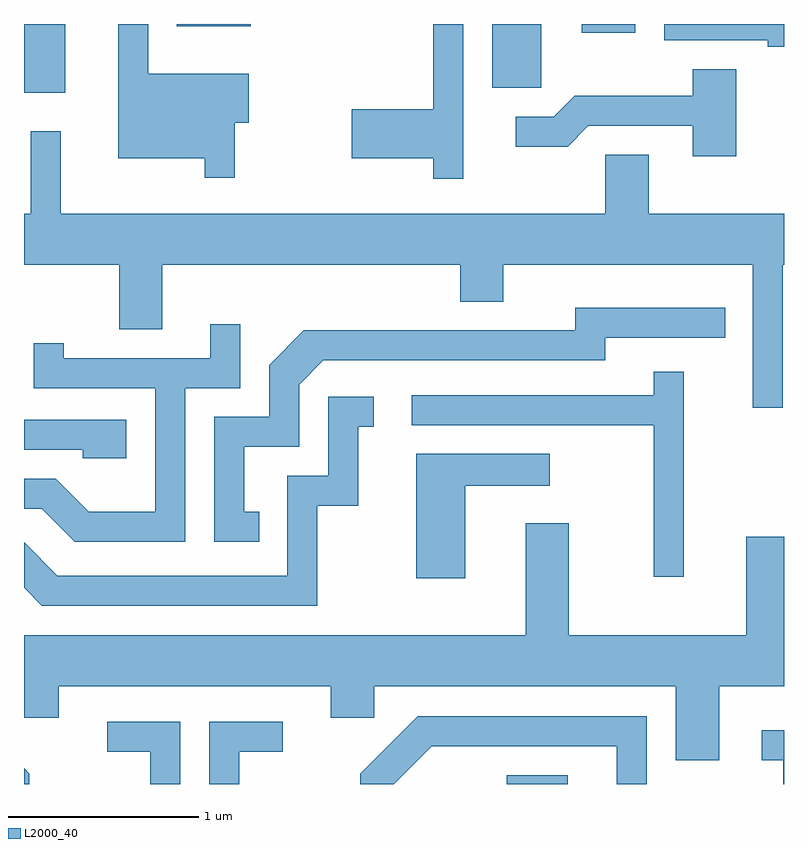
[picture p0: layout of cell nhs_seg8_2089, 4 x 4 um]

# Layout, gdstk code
import gdstk
lib = gdstk.Library(unit=1e-6, precision=1e-09)
def R(c, l, rs):  # rectangles x0, y0, x1, y1
    for r in rs: c.add(gdstk.rectangle(r[:2], r[2:], *l))
def P(c, l, *ps):  # polygons
    for p in ps: c.add(gdstk.Polygon(p, *l))
L2000_40 = (2000, 40)

nhs_seg8_2089 = lib.new_cell('nhs_seg8_2089')
R(nhs_seg8_2089, L2000_40, [(250.151,1840.342,250.473,1840.389), (247.611,1843.981,247.829,1844.342), (250.076,1844.006,250.334,1844.342), (250.546,1844.296,250.829,1844.342), (248.416,1844.331,248.804,1844.342)])
P(nhs_seg8_2089, L2000_40, [(249.924,1844.342),(249.766,1844.342),(249.766,1843.894),(249.336,1843.894),(249.336,1843.636),(249.766,1843.636),(249.766,1843.528),(249.924,1843.528)],
  [(251.611,1844.342),(250.981,1844.342),(250.981,1844.256),(251.526,1844.256),(251.526,1844.221),(251.611,1844.221)],
  [(248.719,1843.821),(248.794,1843.821),(248.794,1844.079),(248.264,1844.079),(248.264,1844.342),(248.106,1844.342),(248.106,1843.636),(248.561,1843.636),(248.561,1843.533),(248.719,1843.533)],
  [(251.359,1844.104),(251.131,1844.104),(251.131,1843.964),(250.509,1843.964),(250.399,1843.854),(250.198,1843.854),(250.198,1843.696),(250.472,1843.696),(250.582,1843.806),(251.131,1843.806),(251.131,1843.646),(251.359,1843.646)],
  [(251.604,1843.076),(251.611,1843.076),(251.611,1843.344),(250.899,1843.344),(250.899,1843.654),(250.671,1843.654),(250.671,1843.344),(247.804,1843.344),(247.804,1843.778),(247.646,1843.778),(247.646,1843.344),(247.611,1843.344),(247.611,1843.076),(248.111,1843.076),(248.111,1842.736),(248.339,1842.736),(248.339,1843.076),(249.906,1843.076),(249.906,1842.881),(250.134,1842.881),(250.134,1843.076),(251.446,1843.076),(251.446,1842.323),(251.604,1842.323)],
  [(248.848,1841.774),(248.769,1841.774),(248.769,1842.116),(249.059,1842.116),(249.059,1842.444),(249.187,1842.571),(250.669,1842.571),(250.669,1842.691),(251.303,1842.691),(251.303,1842.849),(250.511,1842.849),(250.511,1842.729),(249.084,1842.729),(248.901,1842.547),(248.901,1842.274),(248.611,1842.274),(248.611,1841.616),(248.848,1841.616)],
  [(248.459,1842.426),(248.749,1842.426),(248.749,1842.763),(248.591,1842.763),(248.591,1842.584),(247.819,1842.584),(247.819,1842.663),(247.661,1842.663),(247.661,1842.426),(248.301,1842.426),(248.301,1841.774),(247.952,1841.774),(247.777,1841.949),(247.611,1841.949),(247.611,1841.791),(247.704,1841.791),(247.879,1841.616),(248.459,1841.616)],
  [(251.084,1842.513),(250.926,1842.513),(250.926,1842.389),(249.653,1842.389),(249.653,1842.231),(250.926,1842.231),(250.926,1841.433),(251.084,1841.433)],
  [(249.154,1841.806),(249.369,1841.806),(249.369,1842.221),(249.453,1842.221),(249.453,1842.379),(249.211,1842.379),(249.211,1841.964),(248.996,1841.964),(248.996,1841.439),(247.787,1841.439),(247.611,1841.615),(247.611,1841.374),(247.704,1841.281),(249.154,1841.281)],
  [(248.149,1842.259),(247.611,1842.259),(247.611,1842.101),(247.921,1842.101),(247.921,1842.056),(248.149,1842.056)],
  [(249.934,1841.911),(250.378,1841.911),(250.378,1842.079),(249.676,1842.079),(249.676,1841.426),(249.934,1841.426)],
  [(251.269,1840.856),(251.611,1840.856),(251.611,1841.644),(251.411,1841.644),(251.411,1841.124),(250.479,1841.124),(250.479,1841.714),(250.251,1841.714),(250.251,1841.124),(247.611,1841.124),(247.611,1840.691),(247.794,1840.691),(247.794,1840.856),(249.226,1840.856),(249.226,1840.691),(249.454,1840.691),(249.454,1840.856),(251.041,1840.856),(251.041,1840.466),(251.269,1840.466)],
  [(249.757,1840.541),(250.731,1840.541),(250.731,1840.342),(250.889,1840.342),(250.889,1840.699),(249.684,1840.699),(249.381,1840.397),(249.381,1840.342),(249.557,1840.342)],
  [(248.744,1840.511),(248.973,1840.511),(248.973,1840.669),(248.586,1840.669),(248.586,1840.342),(248.744,1840.342)],
  [(248.434,1840.669),(248.048,1840.669),(248.048,1840.511),(248.276,1840.511),(248.276,1840.342),(248.434,1840.342)],
  [(251.611,1840.624),(251.493,1840.624),(251.493,1840.466),(251.606,1840.466),(251.606,1840.342),(251.611,1840.342)],
  [(247.639,1840.397),(247.611,1840.425),(247.611,1840.342),(247.639,1840.342)])

lib.write_gds('nhs_seg8_2089.gds')
